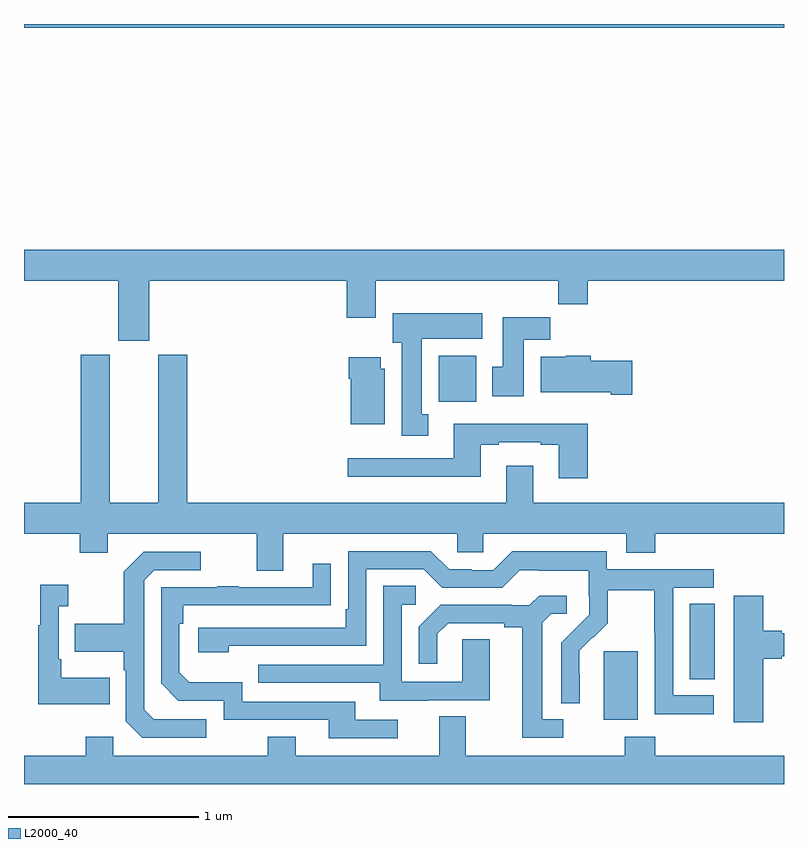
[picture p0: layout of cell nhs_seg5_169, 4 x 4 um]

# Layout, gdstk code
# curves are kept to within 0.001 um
import gdstk
lib = gdstk.Library(unit=1e-6, precision=1e-09)
def R(c, l, rs):  # rectangles x0, y0, x1, y1
    for r in rs: c.add(gdstk.rectangle(r[:2], r[2:], *l))
def P(c, l, *ps):  # polygons
    for p in ps: c.add(gdstk.Polygon(p, *l))
L2000_40 = (2000, 40)

nhs_seg5_169 = lib.new_cell('nhs_seg5_169')
R(nhs_seg5_169, L2000_40, [(124.052,833.138,124.231,833.499), (124.505,833.35,124.636,833.747), (123.182,834.812,123.379,835.054), (121,836.78,125,836.799)])
P(nhs_seg5_169, L2000_40, [(121.66,835.448),(122.699,835.448),(122.699,835.254),(122.851,835.254),(122.851,835.448),(123.811,835.448),(123.811,835.324),(123.968,835.324),(123.968,835.448),(125,835.448),(125,835.612),(121,835.612),(121,835.448),(121.496,835.448),(121.496,835.131),(121.66,835.131)],
  [(123.127,834.746),(123.094,834.746),(123.094,835.142),(123.412,835.142),(123.412,835.276),(122.942,835.276),(122.942,835.122),(122.987,835.122),(122.987,834.633),(123.127,834.633)],
  [(123.631,835.136),(123.77,835.136),(123.77,835.255),(123.521,835.255),(123.521,834.996),(123.464,834.996),(123.464,834.84),(123.631,834.84)],
  [(122.365,834.116),(123.279,834.116),(123.279,834.018),(123.417,834.018),(123.417,834.116),(124.169,834.116),(124.169,834.017),(124.322,834.017),(124.322,834.116),(125,834.116),(125,834.28),(123.679,834.28),(123.679,834.475),(123.539,834.475),(123.539,834.28),(121.859,834.28),(121.859,835.059),(121.706,835.059),(121.706,834.28),(121.45,834.28),(121.45,835.059),(121.298,835.059),(121.298,834.28),(121,834.28),(121,834.116),(121.294,834.116),(121.294,834.017),(121.441,834.017),(121.441,834.116),(122.225,834.116),(122.225,833.922),(122.365,833.922)],
  [(124.201,835.026),(123.983,835.026),(123.983,835.054),(123.852,835.054),(123.852,835.048),(123.719,835.048),(123.719,834.86),(124.088,834.86),(124.088,834.848),(124.201,834.848)],
  [(122.899,834.984),(122.878,834.984),(122.878,835.045),(122.708,835.045),(122.708,834.932),(122.72,834.932),(122.72,834.692),(122.899,834.692)],
  [(123.968,834.694),(123.263,834.694),(123.263,834.513),(122.703,834.513),(122.703,834.416),(123.403,834.416),(123.403,834.585),(123.499,834.585),(123.499,834.597),(123.719,834.597),(123.719,834.585),(123.815,834.585),(123.815,834.408),(123.968,834.408)],
  [(124.63,833.265),(124.416,833.265),(124.416,833.832),(124.63,833.832),(124.63,833.928),(124.068,833.928),(124.068,834.025),(123.571,834.025),(123.471,833.925),(123.356,833.925),(123.356,833.928),(123.237,833.928),(123.141,834.024),(122.706,834.024),(122.706,833.719),(122.693,833.719),(122.693,833.622),(121.917,833.622),(121.917,833.492),(122.078,833.492),(122.078,833.526),(122.802,833.526),(122.802,833.928),(123.105,833.928),(123.201,833.832),(123.516,833.832),(123.609,833.925),(123.709,833.925),(123.709,833.921),(123.972,833.921),(123.972,833.787),(123.974,833.787),(123.974,833.69),(123.828,833.542),(123.828,833.224),(123.924,833.224),(123.923,833.501),(123.993,833.571),(123.996,833.568),(124.073,833.645),(124.073,833.82),(124.318,833.82),(124.318,833.596),(124.32,833.596),(124.32,833.167),(124.63,833.167)],
  [(121.96,833.139),(121.683,833.139),(121.632,833.19),(121.632,833.871),(121.686,833.925),(121.93,833.925),(121.93,834.021),(121.629,834.021),(121.524,833.915),(121.524,833.643),(121.267,833.643),(121.267,833.495),(121.524,833.495),(121.524,833.399),(121.536,833.399),(121.536,833.13),(121.623,833.043),(121.96,833.043)],
  [(122.968,833.136),(122.743,833.136),(122.743,833.232),(122.148,833.232),(122.148,833.335),(121.871,833.335),(121.818,833.388),(121.818,833.642),(121.838,833.642),(121.838,833.739),(122.615,833.74),(122.615,833.959),(122.519,833.959),(122.519,833.835),(122.129,833.835),(122.129,833.84),(122.017,833.84),(122.017,833.835),(121.722,833.835),(121.722,833.328),(121.812,833.238),(122.052,833.238),(122.052,833.136),(122.603,833.136),(122.603,833.04),(122.968,833.04)],
  [(121.451,833.359),(121.195,833.359),(121.195,833.455),(121.182,833.455),(121.182,833.735),(121.234,833.735),(121.234,833.848),(121.085,833.848),(121.085,833.635),(121.074,833.635),(121.074,833.219),(121.451,833.219)],
  [(123.127,833.241),(123.451,833.241),(123.451,833.561),(123.306,833.561),(123.306,833.337),(122.988,833.337),(122.988,833.742),(123.061,833.742),(123.061,833.843),(122.892,833.843),(122.892,833.427),(122.233,833.427),(122.233,833.331),(122.873,833.331),(122.873,833.237),(123.127,833.237)],
  [(123.838,833.139),(123.727,833.139),(123.727,833.647),(123.774,833.694),(123.856,833.694),(123.856,833.791),(123.712,833.791),(123.66,833.739),(123.566,833.739),(123.566,833.742),(123.194,833.742),(123.078,833.626),(123.078,833.433),(123.175,833.433),(123.175,833.589),(123.232,833.646),(123.527,833.646),(123.527,833.624),(123.623,833.624),(123.623,833.043),(123.838,833.043)],
  [(124.891,833.459),(124.987,833.459),(124.987,833.471),(125,833.471),(125,833.593),(124.987,833.593),(124.987,833.606),(124.891,833.606),(124.891,833.791),(124.736,833.791),(124.736,833.124),(124.891,833.124)],
  [(125,832.948),(124.322,832.948),(124.322,833.047),(124.162,833.047),(124.162,832.948),(123.325,832.948),(123.325,833.156),(123.185,833.156),(123.185,832.948),(122.431,832.948),(122.431,833.047),(122.284,833.047),(122.284,832.948),(121.47,832.948),(121.47,833.047),(121.324,833.047),(121.324,832.948),(121,832.948),(121,832.799),(125,832.799)])

lib.write_gds('nhs_seg5_169.gds')
